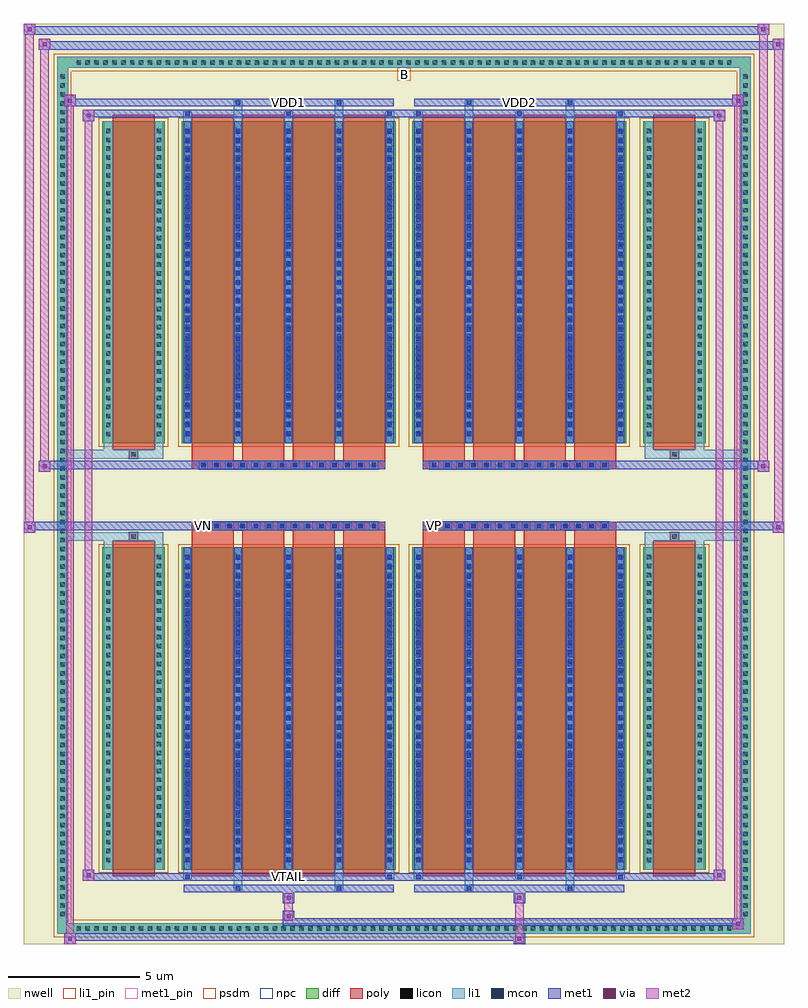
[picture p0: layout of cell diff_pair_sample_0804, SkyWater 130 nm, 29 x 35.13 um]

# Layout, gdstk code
import gdstk
lib = gdstk.Library(unit=1e-6, precision=5e-09)
def R(c, l, rs):  # rectangles x0, y0, x1, y1
    for r in rs: c.add(gdstk.rectangle(r[:2], r[2:], *l))
def A(c, l, x, y, w, h, nx, ny, dx, dy):  # array of equal rectangles
    R(c, l, [(x+i*dx, y+j*dy, x+i*dx+w, y+j*dy+h) for i in range(nx) for j in range(ny)])
def P(c, l, *ps):  # polygons
    for p in ps: c.add(gdstk.Polygon(p, *l))
nwell = (64, 20)
diff = (65, 20)
poly = (66, 20)
licon = (66, 44)
li1_pin = (67, 16)
li1 = (67, 20)
mcon = (67, 44)
met1_pin = (68, 16)
met1 = (68, 20)
via = (68, 44)
met2 = (69, 20)
psdm = (94, 20)
npc = (95, 20)

diff_pair_sample_0804 = lib.new_cell('diff_pair_sample_0804')
R(diff_pair_sample_0804, nwell, [(-14.5,-17.13,14.5,18), (-11.82,-15.32,-0.01,-0.8), (0.01,-15.32,11.82,-0.8), (-11.82,0.8,-0.01,15.32), (0.01,0.8,11.82,15.32)])
A(diff_pair_sample_0804, diff, -12.615, -16.73, 0.41, 0.41, 74, 2, 0.34, 33.05)
A(diff_pair_sample_0804, diff, -13.23, -16.185, 0.41, 0.41, 1, 95, 0, 0.34)
A(diff_pair_sample_0804, diff, 12.82, -16.185, 0.41, 0.41, 1, 95, 0, 0.34)
R(diff_pair_sample_0804, diff, [(-12.615,-16.73,12.615,-16.32), (-13.23,-16.185,-12.82,16.185), (12.82,-16.185,13.23,16.185), (-11.51,-14.275,-9.13,-1.985), (-8.49,-14.275,-0.32,-1.985), (0.32,-14.275,8.49,-1.985), (9.13,-14.275,11.51,-1.985), (-11.51,1.985,-9.13,14.275), (-8.49,1.985,-0.32,14.275), (0.32,1.985,8.49,14.275), (9.13,1.985,11.51,14.275), (-12.615,16.32,12.615,16.73)])
P(diff_pair_sample_0804, diff, [(13.23,16.73),(-13.23,16.73),(-13.23,-16.32),(-12.82,-16.32),(-12.82,16.32),(12.82,16.32),(12.82,-16.32),(-12.82,-16.32),(-13.23,-16.32),(-13.23,-16.73),(13.23,-16.73)])
A(diff_pair_sample_0804, poly, -8.1, -14.525, 1.6, 12.79, 4, 2, 1.93, 16.26)
A(diff_pair_sample_0804, poly, 0.71, -14.525, 1.6, 12.79, 4, 2, 1.93, 16.26)
A(diff_pair_sample_0804, poly, -8.1, -1.735, 1.6, 0.405, 4, 2, 1.93, 3.065)
A(diff_pair_sample_0804, poly, 0.71, -1.735, 1.6, 0.405, 4, 2, 1.93, 3.065)
A(diff_pair_sample_0804, poly, -7.82, -1.33, 0.33, 0.33, 14, 2, 0.5, 2.33)
A(diff_pair_sample_0804, poly, 0.99, -1.33, 0.33, 0.33, 14, 2, 0.5, 2.33)
R(diff_pair_sample_0804, poly, [(-11.12,-14.525,-9.52,-1.735), (9.52,-14.525,11.12,-1.735), (-10.485,-1.735,-10.155,-1.405), (-10.485,-1.735,-10.155,-1.405), (10.155,-1.735,10.485,-1.405), (10.155,-1.735,10.485,-1.405), (-8.1,-1.33,-0.71,-1), (0.71,-1.33,8.1,-1), (-8.1,1,-0.71,1.33), (0.71,1,8.1,1.33), (-10.485,1.405,-10.155,1.735), (-10.485,1.405,-10.155,1.735), (10.155,1.405,10.485,1.735), (10.155,1.405,10.485,1.735), (-11.12,1.735,-9.52,14.525), (9.52,1.735,11.12,14.525)])
A(diff_pair_sample_0804, licon, -12.495, -16.61, 0.17, 0.17, 74, 2, 0.34, 33.05)
A(diff_pair_sample_0804, licon, -13.11, -16.065, 0.17, 0.17, 1, 95, 0, 0.34)
A(diff_pair_sample_0804, licon, 12.94, -16.065, 0.17, 0.17, 1, 95, 0, 0.34)
A(diff_pair_sample_0804, licon, -11.37, -13.995, 0.17, 0.17, 1, 35, 0, 0.34)
A(diff_pair_sample_0804, licon, -9.44, -13.995, 0.17, 0.17, 1, 35, 0, 0.34)
A(diff_pair_sample_0804, licon, -8.35, -13.995, 0.17, 0.17, 5, 35, 1.93, 0.34)
A(diff_pair_sample_0804, licon, 0.46, -13.995, 0.17, 0.17, 5, 35, 1.93, 0.34)
A(diff_pair_sample_0804, licon, 9.27, -13.995, 0.17, 0.17, 1, 35, 0, 0.34)
A(diff_pair_sample_0804, licon, 11.2, -13.995, 0.17, 0.17, 1, 35, 0, 0.34)
A(diff_pair_sample_0804, licon, -7.74, -1.25, 0.17, 0.17, 14, 2, 0.5, 2.33)
A(diff_pair_sample_0804, licon, 1.07, -1.25, 0.17, 0.17, 14, 2, 0.5, 2.33)
A(diff_pair_sample_0804, licon, -11.37, 2.265, 0.17, 0.17, 1, 35, 0, 0.34)
A(diff_pair_sample_0804, licon, -9.44, 2.265, 0.17, 0.17, 1, 35, 0, 0.34)
A(diff_pair_sample_0804, licon, -8.35, 2.265, 0.17, 0.17, 5, 35, 1.93, 0.34)
A(diff_pair_sample_0804, licon, 0.46, 2.265, 0.17, 0.17, 5, 35, 1.93, 0.34)
A(diff_pair_sample_0804, licon, 9.27, 2.265, 0.17, 0.17, 1, 35, 0, 0.34)
A(diff_pair_sample_0804, licon, 11.2, 2.265, 0.17, 0.17, 1, 35, 0, 0.34)
R(diff_pair_sample_0804, licon, [(-10.405,-1.655,-10.235,-1.485), (10.235,-1.655,10.405,-1.485), (-10.405,1.485,-10.235,1.655), (10.235,1.485,10.405,1.655)])
R(diff_pair_sample_0804, li1_pin, [(-0.25,15.82,0.25,16.32)])
A(diff_pair_sample_0804, li1, -12.575, -16.69, 0.33, 0.33, 74, 2, 0.34, 33.05)
A(diff_pair_sample_0804, li1, -13.19, -16.145, 0.33, 0.33, 1, 95, 0, 0.34)
A(diff_pair_sample_0804, li1, 12.86, -16.145, 0.33, 0.33, 1, 95, 0, 0.34)
A(diff_pair_sample_0804, li1, -8.43, -14.65, 0.33, 0.375, 3, 2, 3.86, 28.925)
A(diff_pair_sample_0804, li1, -8.35, -14.65, 0.17, 0.17, 3, 2, 3.86, 29.13)
A(diff_pair_sample_0804, li1, 0.38, -14.65, 0.33, 0.375, 3, 2, 3.86, 28.925)
A(diff_pair_sample_0804, li1, 0.46, -14.65, 0.17, 0.17, 3, 2, 3.86, 29.13)
A(diff_pair_sample_0804, li1, -8.43, -14.275, 0.33, 12.29, 5, 2, 1.93, 16.26)
A(diff_pair_sample_0804, li1, 0.38, -14.275, 0.33, 12.29, 5, 2, 1.93, 16.26)
A(diff_pair_sample_0804, li1, -11.45, -14.075, 0.33, 0.33, 1, 35, 0, 0.34)
A(diff_pair_sample_0804, li1, -9.52, -14.075, 0.33, 0.33, 1, 35, 0, 0.34)
A(diff_pair_sample_0804, li1, -8.43, -14.075, 0.33, 0.33, 5, 35, 1.93, 0.34)
A(diff_pair_sample_0804, li1, 0.38, -14.075, 0.33, 0.33, 5, 35, 1.93, 0.34)
A(diff_pair_sample_0804, li1, 9.19, -14.075, 0.33, 0.33, 1, 35, 0, 0.34)
A(diff_pair_sample_0804, li1, 11.12, -14.075, 0.33, 0.33, 1, 35, 0, 0.34)
A(diff_pair_sample_0804, li1, -8.35, -13.975, 0.17, 0.17, 5, 33, 1.93, 0.36)
A(diff_pair_sample_0804, li1, -8.35, -13.975, 0.17, 11.69, 5, 2, 1.93, 16.26)
A(diff_pair_sample_0804, li1, 0.46, -13.975, 0.17, 0.17, 5, 33, 1.93, 0.36)
A(diff_pair_sample_0804, li1, 0.46, -13.975, 0.17, 11.69, 5, 2, 1.93, 16.26)
A(diff_pair_sample_0804, li1, -7.82, -1.33, 0.33, 0.33, 14, 2, 0.5, 2.33)
A(diff_pair_sample_0804, li1, 0.99, -1.33, 0.33, 0.33, 14, 2, 0.5, 2.33)
A(diff_pair_sample_0804, li1, -11.45, 2.185, 0.33, 0.33, 1, 35, 0, 0.34)
A(diff_pair_sample_0804, li1, -9.52, 2.185, 0.33, 0.33, 1, 35, 0, 0.34)
A(diff_pair_sample_0804, li1, -8.43, 2.185, 0.33, 0.33, 5, 35, 1.93, 0.34)
A(diff_pair_sample_0804, li1, 0.38, 2.185, 0.33, 0.33, 5, 35, 1.93, 0.34)
A(diff_pair_sample_0804, li1, 9.19, 2.185, 0.33, 0.33, 1, 35, 0, 0.34)
A(diff_pair_sample_0804, li1, 11.12, 2.185, 0.33, 0.33, 1, 35, 0, 0.34)
A(diff_pair_sample_0804, li1, -8.35, 2.285, 0.17, 0.17, 5, 33, 1.93, 0.36)
A(diff_pair_sample_0804, li1, 0.46, 2.285, 0.17, 0.17, 5, 33, 1.93, 0.36)
R(diff_pair_sample_0804, li1, [(-13.23,-16.73,-12.82,-16.32), (-13.23,-16.73,-12.82,-16.32), (-12.82,-16.73,12.82,-16.32), (12.82,-16.73,13.23,-16.32), (12.82,-16.73,13.23,-16.32), (-13.23,-16.32,-12.82,16.32), (12.82,-16.32,13.23,16.32), (-6.5,-15.08,-6.17,-14.275), (-6.42,-15.08,-6.25,-14.91), (-2.64,-15.08,-2.31,-14.275), (-2.56,-15.08,-2.39,-14.91), (2.31,-15.08,2.64,-14.275), (2.39,-15.08,2.56,-14.91), (6.17,-15.08,6.5,-14.275), (6.25,-15.08,6.42,-14.91), (-11.45,-14.275,-11.12,-1.985), (-9.52,-14.275,-9.19,-1.985), (9.19,-14.275,9.52,-1.985), (11.12,-14.275,11.45,-1.985), (-11.45,-1.985,-11.12,-1.405), (-9.52,-1.985,-9.19,-1.405), (9.19,-1.985,9.52,-1.405), (11.12,-1.985,11.45,-1.405), (-13.23,-1.735,-10.485,-1.405), (-11.45,-1.735,-10.485,-1.405), (-10.485,-1.735,-10.155,-1.405), (-10.155,-1.735,-9.19,-1.405), (9.19,-1.735,10.155,-1.405), (10.155,-1.735,10.485,-1.405), (10.155,-1.735,13.23,-1.405), (10.485,-1.735,11.45,-1.405), (-13.23,1.405,-10.485,1.735), (-11.45,1.405,-10.485,1.735), (-11.45,1.405,-11.12,1.985), (-10.485,1.405,-10.155,1.735), (-10.155,1.405,-9.19,1.735), (-9.52,1.405,-9.19,1.985), (9.19,1.405,10.155,1.735), (9.19,1.405,9.52,1.985), (10.155,1.405,10.485,1.735), (10.155,1.405,13.23,1.735), (10.485,1.405,11.45,1.735), (11.12,1.405,11.45,1.985), (-11.45,1.985,-11.12,14.275), (-9.52,1.985,-9.19,14.275), (9.19,1.985,9.52,14.275), (11.12,1.985,11.45,14.275), (-6.5,14.275,-6.17,15.08), (-2.64,14.275,-2.31,15.08), (2.31,14.275,2.64,15.08), (6.17,14.275,6.5,15.08), (-6.42,14.91,-6.25,15.08), (-2.56,14.91,-2.39,15.08), (2.39,14.91,2.56,15.08), (6.25,14.91,6.42,15.08), (-13.23,16.32,-12.82,16.73), (-13.23,16.32,-12.82,16.73), (-12.82,16.32,12.82,16.73), (12.82,16.32,13.23,16.73), (12.82,16.32,13.23,16.73)])
A(diff_pair_sample_0804, mcon, -8.35, -14.65, 0.17, 0.17, 3, 2, 3.86, 29.13)
A(diff_pair_sample_0804, mcon, 0.46, -14.65, 0.17, 0.17, 3, 2, 3.86, 29.13)
A(diff_pair_sample_0804, mcon, -8.35, -13.975, 0.17, 0.17, 5, 33, 1.93, 0.36)
A(diff_pair_sample_0804, mcon, 0.46, -13.975, 0.17, 0.17, 5, 33, 1.93, 0.36)
A(diff_pair_sample_0804, mcon, -7.74, -1.25, 0.17, 0.17, 14, 2, 0.5, 2.33)
A(diff_pair_sample_0804, mcon, 1.07, -1.25, 0.17, 0.17, 14, 2, 0.5, 2.33)
A(diff_pair_sample_0804, mcon, -8.35, 2.285, 0.17, 0.17, 5, 33, 1.93, 0.36)
A(diff_pair_sample_0804, mcon, 0.46, 2.285, 0.17, 0.17, 5, 33, 1.93, 0.36)
R(diff_pair_sample_0804, mcon, [(-6.42,-15.08,-6.25,-14.91), (-2.56,-15.08,-2.39,-14.91), (2.39,-15.08,2.56,-14.91), (6.25,-15.08,6.42,-14.91), (-6.42,14.91,-6.25,15.08), (-2.56,14.91,-2.39,15.08), (2.39,14.91,2.56,15.08), (6.25,14.91,6.42,15.08)])
R(diff_pair_sample_0804, met1_pin, [(-4.54,-14.69,-4.27,-14.42), (-7.79,-1.29,-7.52,-1.02), (1.02,-1.29,1.29,-1.02), (-4.54,14.87,-4.27,15.14), (4.27,14.87,4.54,15.14)])
A(diff_pair_sample_0804, met1, -8.41, -14.71, 0.29, 0.29, 3, 2, 3.86, 29.13)
A(diff_pair_sample_0804, met1, 0.4, -14.71, 0.29, 0.29, 3, 2, 3.86, 29.13)
A(diff_pair_sample_0804, met1, -8.41, -14.275, 0.29, 12.29, 5, 2, 1.93, 16.26)
A(diff_pair_sample_0804, met1, 0.4, -14.275, 0.29, 12.29, 5, 2, 1.93, 16.26)
A(diff_pair_sample_0804, met1, -8.41, -14.035, 0.29, 0.29, 5, 33, 1.93, 0.36)
A(diff_pair_sample_0804, met1, 0.4, -14.035, 0.29, 0.29, 5, 33, 1.93, 0.36)
A(diff_pair_sample_0804, met1, -7.8, -1.31, 0.29, 0.29, 14, 2, 0.5, 2.33)
A(diff_pair_sample_0804, met1, 1.01, -1.31, 0.29, 0.29, 14, 2, 0.5, 2.33)
A(diff_pair_sample_0804, met1, -8.41, 2.225, 0.29, 0.29, 5, 33, 1.93, 0.36)
A(diff_pair_sample_0804, met1, 0.4, 2.225, 0.29, 0.29, 5, 33, 1.93, 0.36)
R(diff_pair_sample_0804, met1, [(-12.96,-17.13,-12.53,-16.7), (4.19,-17.13,4.62,-16.7), (-12.96,-16.99,4.62,-16.7), (12.53,-16.56,12.96,-16.13), (-4.62,-16.42,12.96,-16.13), (-4.62,-16.28,-4.19,-15.85), (-4.62,-15.57,-4.19,-15.14), (4.19,-15.57,4.62,-15.14), (-8.41,-15.14,-0.4,-14.85), (-6.48,-15.14,-6.19,-14.85), (-2.62,-15.14,-2.33,-14.85), (0.4,-15.14,8.41,-14.85), (2.33,-15.14,2.62,-14.85), (6.19,-15.14,6.48,-14.85), (-12.25,-14.71,-11.82,-14.28), (-12.25,-14.71,-8.41,-14.42), (-8.41,-14.71,-0.4,-14.42), (-0.4,-14.71,0.4,-14.42), (0.4,-14.71,8.41,-14.42), (8.41,-14.71,12.25,-14.42), (11.82,-14.71,12.25,-14.28), (-14.5,-1.43,-14.07,-1), (14.07,-1.43,14.5,-1), (-14.5,-1.33,-0.71,-1), (-8.1,-1.33,-0.71,-1), (0.71,-1.33,8.1,-1), (0.71,-1.33,14.5,-1), (-13.93,0.9,-13.5,1.33), (13.5,0.9,13.93,1.33), (-13.93,1,-8.1,1.33), (-8.1,1,-0.71,1.33), (0.71,1,8.1,1.33), (8.1,1,13.93,1.33), (-12.25,14.28,-11.82,14.71), (11.82,14.28,12.25,14.71), (-12.25,14.42,-8.41,14.71), (-8.41,14.42,-0.4,14.71), (-0.4,14.42,0.4,14.71), (0.4,14.42,8.41,14.71), (8.41,14.42,12.25,14.71), (-12.96,14.85,-12.53,15.28), (-12.96,14.85,-8.41,15.14), (-8.41,14.85,-0.4,15.14), (-6.48,14.85,-6.19,15.14), (-2.62,14.85,-2.33,15.14), (0.4,14.85,8.41,15.14), (2.33,14.85,2.62,15.14), (6.19,14.85,6.48,15.14), (8.41,14.85,12.96,15.14), (12.53,14.85,12.96,15.28), (-13.93,17,-13.5,17.43), (-13.93,17,-11.82,17.33), (-11.82,17,11.82,17.33), (11.82,17,14.5,17.33), (14.07,17,14.5,17.43), (-14.5,17.57,-14.07,18), (-14.5,17.57,-11.82,17.9), (-11.82,17.57,11.82,17.9), (11.82,17.57,13.93,17.9), (13.5,17.57,13.93,18)])
R(diff_pair_sample_0804, via, [(-12.82,-16.99,-12.67,-16.84), (4.33,-16.99,4.48,-16.84), (12.67,-16.42,12.82,-16.27), (-4.48,-16.14,-4.33,-15.99), (-4.48,-15.43,-4.33,-15.28), (4.33,-15.43,4.48,-15.28), (-12.11,-14.57,-11.96,-14.42), (11.96,-14.57,12.11,-14.42), (-14.36,-1.29,-14.21,-1.14), (14.21,-1.29,14.36,-1.14), (-13.79,1.04,-13.64,1.19), (13.64,1.04,13.79,1.19), (-12.11,14.42,-11.96,14.57), (11.96,14.42,12.11,14.57), (-12.82,14.99,-12.67,15.14), (12.67,14.99,12.82,15.14), (-13.79,17.14,-13.64,17.29), (14.21,17.14,14.36,17.29), (-14.36,17.71,-14.21,17.86), (13.64,17.71,13.79,17.86)])
R(diff_pair_sample_0804, met2, [(-12.96,-17.13,-12.53,-16.7), (-12.89,-17.13,-12.6,15.28), (-12.6,-17.13,-12.53,-16.7), (-12.91,-17.08,-12.58,-16.75), (4.24,-17.08,4.57,-16.75), (4.24,-16.75,4.57,-15.52), (12.53,-16.56,12.96,-16.13), (12.6,-16.56,12.89,15.28), (12.89,-16.56,12.96,-16.13), (12.58,-16.51,12.91,-16.18), (-4.57,-16.23,-4.24,-15.9), (-4.57,-15.9,-4.24,-15.52), (-4.57,-15.52,-4.24,-15.19), (4.24,-15.52,4.57,-15.19), (-12.25,-14.71,-11.82,-14.28), (-12.18,-14.71,-11.89,14.71), (-11.89,-14.71,-11.82,-14.28), (11.82,-14.71,12.25,-14.28), (11.89,-14.71,12.18,14.71), (12.18,-14.71,12.25,-14.28), (-12.2,-14.66,-11.87,-14.33), (11.87,-14.66,12.2,-14.33), (-14.5,-1.43,-14.07,-1), (-14.45,-1.43,-14.12,18), (-14.12,-1.43,-14.07,-1), (14.07,-1.43,14.5,-1), (14.12,-1.43,14.45,17.43), (14.45,-1.43,14.5,-1), (-14.45,-1.38,-14.12,-1.05), (14.12,-1.38,14.45,-1.05), (-13.93,0.9,-13.5,1.33), (-13.88,0.9,-13.55,17.43), (-13.55,0.9,-13.5,1.33), (13.5,0.9,13.93,1.33), (13.55,0.9,13.88,18), (13.88,0.9,13.93,1.33), (-13.88,0.95,-13.55,1.28), (13.55,0.95,13.88,1.28), (-12.25,14.28,-11.82,14.71), (-11.89,14.28,-11.82,14.71), (11.82,14.28,12.25,14.71), (12.18,14.28,12.25,14.71), (-12.2,14.33,-11.87,14.66), (11.87,14.33,12.2,14.66), (-12.96,14.85,-12.53,15.28), (-12.6,14.85,-12.53,15.28), (12.53,14.85,12.96,15.28), (12.89,14.85,12.96,15.28), (-12.91,14.9,-12.58,15.23), (12.58,14.9,12.91,15.23), (-13.93,17,-13.5,17.43), (-13.55,17,-13.5,17.43), (14.07,17,14.5,17.43), (14.45,17,14.5,17.43), (-13.88,17.05,-13.55,17.38), (14.12,17.05,14.45,17.38), (-14.5,17.57,-14.07,18), (-14.12,17.57,-14.07,18), (13.5,17.57,13.93,18), (13.88,17.57,13.93,18), (-14.45,17.62,-14.12,17.95), (13.55,17.62,13.88,17.95)])
R(diff_pair_sample_0804, psdm, [(-11.64,-14.405,-9,-1.855), (-8.62,-14.405,-0.19,-1.855), (0.19,-14.405,8.62,-1.855), (9,-14.405,11.64,-1.855), (-11.64,1.855,-9,14.405), (-8.62,1.855,-0.19,14.405), (0.19,1.855,8.62,14.405), (9,1.855,11.64,14.405)])
P(diff_pair_sample_0804, psdm, [(13.36,16.86),(-13.36,16.86),(-13.36,-16.19),(-12.69,-16.19),(-12.69,16.19),(12.69,16.19),(12.69,-16.19),(-12.69,-16.19),(-13.36,-16.19),(-13.36,-16.86),(13.36,-16.86)])
A(diff_pair_sample_0804, npc, -7.84, -1.35, 0.37, 0.37, 14, 2, 0.5, 2.33)
A(diff_pair_sample_0804, npc, 0.97, -1.35, 0.37, 0.37, 14, 2, 0.5, 2.33)
R(diff_pair_sample_0804, npc, [(-10.505,-1.755,-10.135,-1.385), (10.135,-1.755,10.505,-1.385), (-7.84,-1.35,-6.97,-0.98), (-7.84,-1.35,-6.97,-0.98), (-7.34,-1.35,-6.47,-0.98), (-7.34,-1.35,-6.47,-0.98), (-6.84,-1.35,-5.97,-0.98), (-6.84,-1.35,-5.97,-0.98), (-6.34,-1.35,-5.47,-0.98), (-6.34,-1.35,-5.47,-0.98), (-5.84,-1.35,-4.97,-0.98), (-5.84,-1.35,-4.97,-0.98), (-5.34,-1.35,-4.47,-0.98), (-5.34,-1.35,-4.47,-0.98), (-4.84,-1.35,-3.97,-0.98), (-4.84,-1.35,-3.97,-0.98), (-4.34,-1.35,-3.47,-0.98), (-4.34,-1.35,-3.47,-0.98), (-3.84,-1.35,-2.97,-0.98), (-3.84,-1.35,-2.97,-0.98), (-3.34,-1.35,-2.47,-0.98), (-3.34,-1.35,-2.47,-0.98), (-2.84,-1.35,-1.97,-0.98), (-2.84,-1.35,-1.97,-0.98), (-2.34,-1.35,-1.47,-0.98), (-2.34,-1.35,-1.47,-0.98), (-1.84,-1.35,-0.97,-0.98), (-1.84,-1.35,-0.97,-0.98), (0.97,-1.35,1.84,-0.98), (0.97,-1.35,1.84,-0.98), (1.47,-1.35,2.34,-0.98), (1.47,-1.35,2.34,-0.98), (1.97,-1.35,2.84,-0.98), (1.97,-1.35,2.84,-0.98), (2.47,-1.35,3.34,-0.98), (2.47,-1.35,3.34,-0.98), (2.97,-1.35,3.84,-0.98), (2.97,-1.35,3.84,-0.98), (3.47,-1.35,4.34,-0.98), (3.47,-1.35,4.34,-0.98), (3.97,-1.35,4.84,-0.98), (3.97,-1.35,4.84,-0.98), (4.47,-1.35,5.34,-0.98), (4.47,-1.35,5.34,-0.98), (4.97,-1.35,5.84,-0.98), (4.97,-1.35,5.84,-0.98), (5.47,-1.35,6.34,-0.98), (5.47,-1.35,6.34,-0.98), (5.97,-1.35,6.84,-0.98), (5.97,-1.35,6.84,-0.98), (6.47,-1.35,7.34,-0.98), (6.47,-1.35,7.34,-0.98), (6.97,-1.35,7.84,-0.98), (6.97,-1.35,7.84,-0.98), (-7.84,0.98,-6.97,1.35), (-7.84,0.98,-6.97,1.35), (-7.34,0.98,-6.47,1.35), (-7.34,0.98,-6.47,1.35), (-6.84,0.98,-5.97,1.35), (-6.84,0.98,-5.97,1.35), (-6.34,0.98,-5.47,1.35), (-6.34,0.98,-5.47,1.35), (-5.84,0.98,-4.97,1.35), (-5.84,0.98,-4.97,1.35), (-5.34,0.98,-4.47,1.35), (-5.34,0.98,-4.47,1.35), (-4.84,0.98,-3.97,1.35), (-4.84,0.98,-3.97,1.35), (-4.34,0.98,-3.47,1.35), (-4.34,0.98,-3.47,1.35), (-3.84,0.98,-2.97,1.35), (-3.84,0.98,-2.97,1.35), (-3.34,0.98,-2.47,1.35), (-3.34,0.98,-2.47,1.35), (-2.84,0.98,-1.97,1.35), (-2.84,0.98,-1.97,1.35), (-2.34,0.98,-1.47,1.35), (-2.34,0.98,-1.47,1.35), (-1.84,0.98,-0.97,1.35), (-1.84,0.98,-0.97,1.35), (0.97,0.98,1.84,1.35), (0.97,0.98,1.84,1.35), (1.47,0.98,2.34,1.35), (1.47,0.98,2.34,1.35), (1.97,0.98,2.84,1.35), (1.97,0.98,2.84,1.35), (2.47,0.98,3.34,1.35), (2.47,0.98,3.34,1.35), (2.97,0.98,3.84,1.35), (2.97,0.98,3.84,1.35), (3.47,0.98,4.34,1.35), (3.47,0.98,4.34,1.35), (3.97,0.98,4.84,1.35), (3.97,0.98,4.84,1.35), (4.47,0.98,5.34,1.35), (4.47,0.98,5.34,1.35), (4.97,0.98,5.84,1.35), (4.97,0.98,5.84,1.35), (5.47,0.98,6.34,1.35), (5.47,0.98,6.34,1.35), (5.97,0.98,6.84,1.35), (5.97,0.98,6.84,1.35), (6.47,0.98,7.34,1.35), (6.47,0.98,7.34,1.35), (6.97,0.98,7.84,1.35), (6.97,0.98,7.84,1.35), (-10.505,1.385,-10.135,1.755), (10.135,1.385,10.505,1.755)])
diff_pair_sample_0804.add(gdstk.Label('VTAIL', (-4.405,-14.555), layer=68, texttype=5))
diff_pair_sample_0804.add(gdstk.Label('VN', (-7.655,-1.155), layer=68, texttype=5))
diff_pair_sample_0804.add(gdstk.Label('VP', (1.155,-1.155), layer=68, texttype=5))
diff_pair_sample_0804.add(gdstk.Label('B', (0,16.07), layer=67, texttype=5))
diff_pair_sample_0804.add(gdstk.Label('VDD2', (4.405,15.005), layer=68, texttype=5))
diff_pair_sample_0804.add(gdstk.Label('VDD1', (-4.405,15.005), layer=68, texttype=5))

lib.write_gds('diff_pair_sample_0804.gds')
